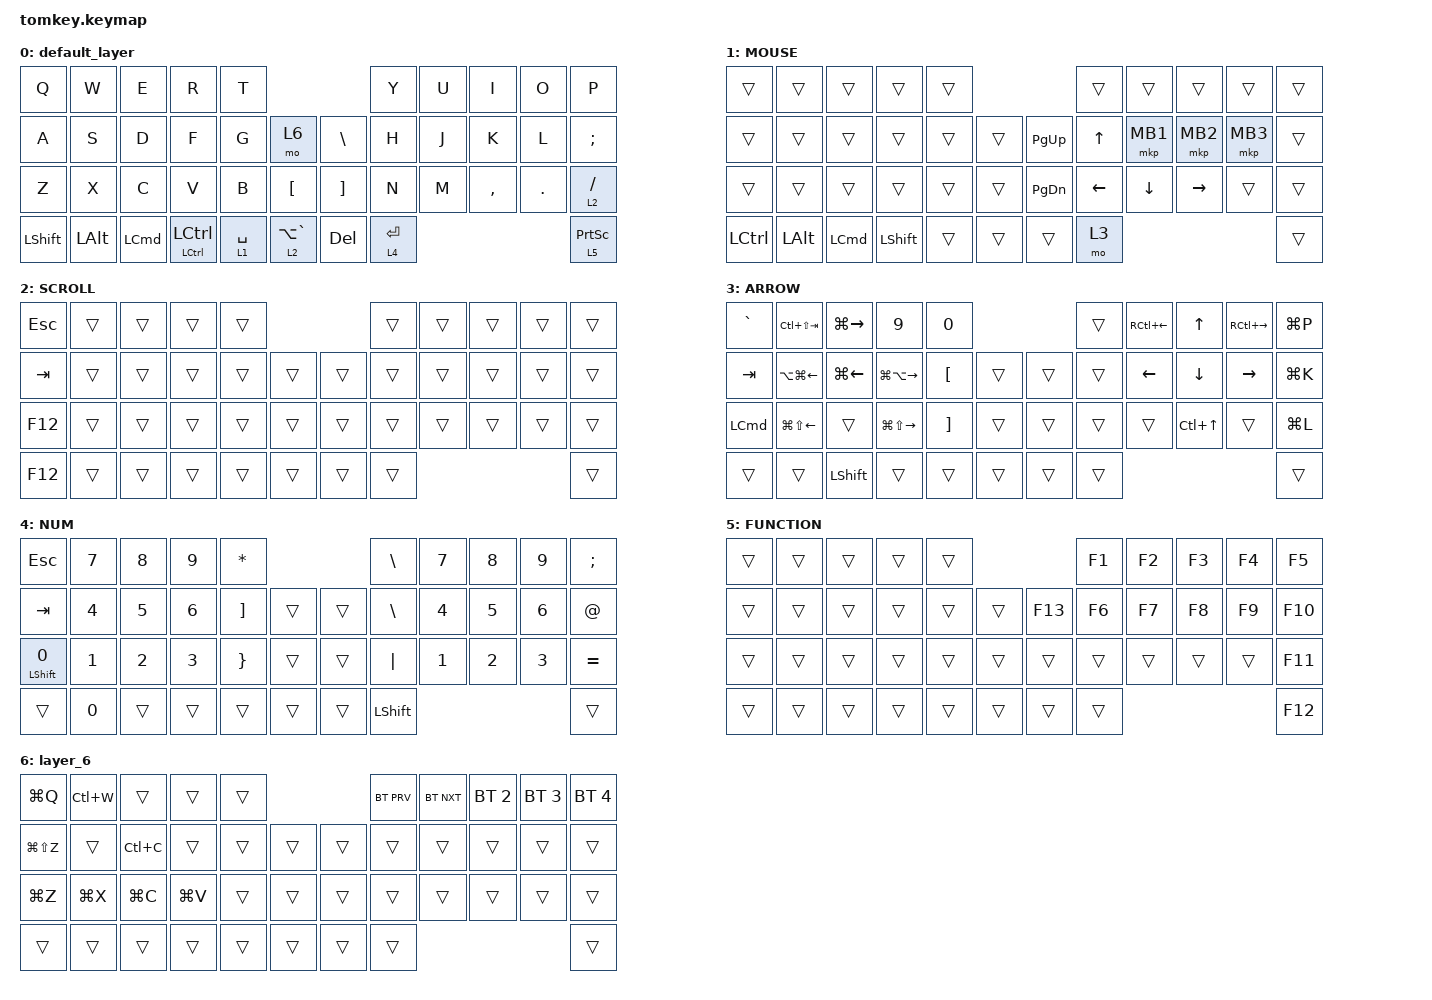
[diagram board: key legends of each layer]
#include <behaviors.dtsi>
#include <dt-bindings/zmk/bt.h>
#include <dt-bindings/zmk/keys.h>
#include <dt-bindings/zmk/pointing.h>

/ {
    keymap {
        compatible = "zmk,keymap";

        default_layer {
            bindings = <
&kp Q           &kp W         &kp E             &kp R                          &kp T                                                 &kp Y        &kp U  &kp I      &kp O    &kp P
&kp A           &kp S         &kp D             &kp F                          &kp G        &mo 6                 &kp BACKSLASH      &kp H        &kp J  &kp K      &kp L    &kp SEMICOLON
&kp Z           &kp X         &kp C             &kp V                          &kp B        &kp LEFT_BRACKET      &kp RIGHT_BRACKET  &kp N        &kp M  &kp COMMA  &kp DOT  &lt 2 SLASH
&kp LEFT_SHIFT  &kp LEFT_ALT  &kp LEFT_COMMAND  &mt LEFT_CONTROL LEFT_CONTROL  &lt 1 SPACE  &lt 2 LA(GRAVE)       &kp DELETE         &lt 4 ENTER                             &lt 5 PRINTSCREEN
            >;
        };

        MOUSE {
            bindings = <
&trans     &trans        &trans            &trans          &trans                             &trans          &trans    &trans     &trans    &trans
&trans     &trans        &trans            &trans          &trans  &trans      &kp PAGE_UP    &kp UP_ARROW    &mkp MB1  &mkp MB2   &mkp MB3  &trans
&trans     &trans        &trans            &trans          &trans  &trans      &kp PAGE_DOWN  &kp LEFT_ARROW  &kp DOWN  &kp RIGHT  &trans    &trans
&kp LCTRL  &kp LEFT_ALT  &kp LEFT_COMMAND  &kp LEFT_SHIFT  &trans  &trans      &trans         &mo 3                                          &trans
            >;
        };

        SCROLL {
            bindings = <
&kp ESCAPE  &trans  &trans  &trans  &trans                      &trans  &trans  &trans  &trans  &trans
&kp TAB     &trans  &trans  &trans  &trans  &trans      &trans  &trans  &trans  &trans  &trans  &trans
&kp F12     &trans  &trans  &trans  &trans  &trans      &trans  &trans  &trans  &trans  &trans  &trans
&kp F12     &trans  &trans  &trans  &trans  &trans      &trans  &trans                          &trans
            >;
        };

        ARROW {
            bindings = <
&kp GRAVE  &kp LC(LS(TAB))         &kp LG(RIGHT)   &kp NUMBER_9             &kp NUMBER_0                           &trans  &kp RC(LEFT_ARROW)  &kp UP_ARROW      &kp RC(RIGHT_ARROW)  &kp LG(P)
&kp TAB    &kp LA(LG(LEFT_ARROW))  &kp LG(LEFT)    &kp LG(LA(RIGHT_ARROW))  &kp LEFT_BRACKET   &trans      &trans  &trans  &kp LEFT_ARROW      &kp DOWN_ARROW    &kp RIGHT_ARROW      &kp LG(K)
&kp LCMD   &kp LG(LS(LEFT_ARROW))  &trans          &kp LG(LS(RIGHT_ARROW))  &kp RIGHT_BRACKET  &trans      &trans  &trans  &trans              &kp LC(UP_ARROW)  &trans               &kp LG(L)
&trans     &trans                  &kp LEFT_SHIFT  &trans                   &trans             &trans      &trans  &trans                                                             &trans
            >;
        };

        NUM {
            bindings = <
&kp ESCAPE               &kp NUMBER_7  &kp NUMBER_8  &kp NUMBER_9  &kp ASTERISK                           &kp BACKSLASH   &kp NUMBER_7  &kp NUMBER_8  &kp NUMBER_9  &kp SEMICOLON
&kp TAB                  &kp NUMBER_4  &kp NUMBER_5  &kp NUMBER_6  &kp RIGHT_BRACKET  &trans      &trans  &kp BACKSLASH   &kp NUMBER_4  &kp NUMBER_5  &kp NUMBER_6  &kp AT_SIGN
&mt LEFT_SHIFT NUMBER_0  &kp NUMBER_1  &kp NUMBER_2  &kp NUMBER_3  &kp RIGHT_BRACE    &trans      &trans  &kp PIPE        &kp NUMBER_1  &kp NUMBER_2  &kp NUMBER_3  &kp EQUAL
&trans                   &kp NUMBER_0  &trans        &trans        &trans             &trans      &trans  &kp LEFT_SHIFT                                            &trans
            >;
        };

        FUNCTION {
            bindings = <
&trans  &trans  &trans  &trans  &trans                       &kp F1  &kp F2  &kp F3  &kp F4  &kp F5
&trans  &trans  &trans  &trans  &trans  &trans      &kp F13  &kp F6  &kp F7  &kp F8  &kp F9  &kp F10
&trans  &trans  &trans  &trans  &trans  &trans      &trans   &trans  &trans  &trans  &trans  &kp F11
&trans  &trans  &trans  &trans  &trans  &trans      &trans   &trans                          &kp F12
            >;
        };

        layer_6 {
            bindings = <
&kp LG(Q)      &kp LC(W)  &trans     &trans     &trans                      &bt BT_PRV  &bt BT_NXT  &bt BT_SEL 2  &bt BT_SEL 3  &bt BT_SEL 4
&kp LG(LS(Z))  &trans     &kp LC(C)  &trans     &trans  &trans      &trans  &trans      &trans      &trans        &trans        &trans
&kp LG(Z)      &kp LG(X)  &kp LG(C)  &kp LG(V)  &trans  &trans      &trans  &trans      &trans      &trans        &trans        &trans
&trans         &trans     &trans     &trans     &trans  &trans      &trans  &trans                                              &trans
            >;
        };
    };
};
